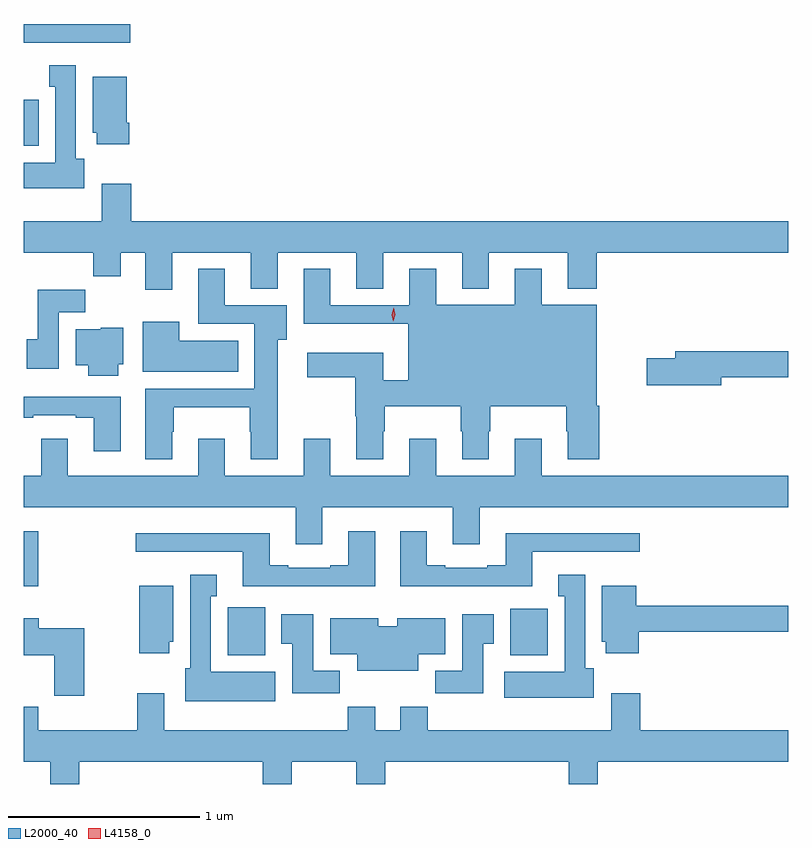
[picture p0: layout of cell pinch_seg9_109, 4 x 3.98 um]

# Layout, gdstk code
import gdstk
lib = gdstk.Library(unit=1e-6, precision=1e-09)
def R(c, l, rs):  # rectangles x0, y0, x1, y1
    for r in rs: c.add(gdstk.rectangle(r[:2], r[2:], *l))
def P(c, l, *ps):  # polygons
    for p in ps: c.add(gdstk.Polygon(p, *l))
L2000_40 = (2000, 40)
L4158_0 = (4158, 0)

pinch_seg9_109 = lib.new_cell('pinch_seg9_109')
R(pinch_seg9_109, L2000_40, [(1128.843,1184.99,1129.039,1185.24), (1130.321,1184.99,1130.518,1185.232), (1127.776,1185.35,1127.852,1185.637), (1127.776,1187.654,1127.854,1187.896), (1127.776,1188.195,1128.334,1188.292)])
P(pinch_seg9_109, L2000_40, [(1128.094,1187.586),(1128.049,1187.586),(1128.049,1188.076),(1127.909,1188.076),(1127.909,1187.963),(1127.942,1187.963),(1127.942,1187.566),(1127.776,1187.566),(1127.776,1187.432),(1128.094,1187.432)],
  [(1128.329,1187.776),(1128.316,1187.776),(1128.316,1188.016),(1128.137,1188.016),(1128.137,1187.724),(1128.158,1187.724),(1128.158,1187.664),(1128.329,1187.664)],
  [(1128.553,1187.096),(1128.965,1187.096),(1128.965,1186.907),(1129.105,1186.907),(1129.105,1187.096),(1129.517,1187.096),(1129.517,1186.906),(1129.657,1186.906),(1129.657,1187.096),(1130.069,1187.096),(1130.069,1186.907),(1130.209,1186.907),(1130.209,1187.096),(1130.621,1187.096),(1130.621,1186.907),(1130.774,1186.907),(1130.774,1187.096),(1131.776,1187.096),(1131.776,1187.26),(1128.338,1187.26),(1128.338,1187.455),(1128.185,1187.455),(1128.185,1187.26),(1127.776,1187.26),(1127.776,1187.096),(1128.139,1187.096),(1128.139,1186.972),(1128.283,1186.972),(1128.283,1187.096),(1128.413,1187.096),(1128.413,1186.902),(1128.553,1186.902)],
  [(1129.657,1186.161),(1129.665,1186.161),(1129.665,1186.292),(1130.062,1186.292),(1130.062,1186.161),(1130.069,1186.161),(1130.069,1186.014),(1130.209,1186.014),(1130.209,1186.161),(1130.217,1186.161),(1130.217,1186.292),(1130.614,1186.292),(1130.614,1186.161),(1130.621,1186.161),(1130.621,1186.014),(1130.786,1186.014),(1130.786,1186.296),(1130.773,1186.296),(1130.773,1186.822),(1130.485,1186.822),(1130.485,1187.011),(1130.345,1187.011),(1130.345,1186.822),(1129.933,1186.822),(1129.933,1187.011),(1129.793,1187.011),(1129.793,1186.821),(1129.381,1186.821),(1129.381,1187.011),(1129.241,1187.011),(1129.241,1186.724),(1129.787,1186.724),(1129.787,1186.429),(1129.657,1186.429),(1129.657,1186.573),(1129.26,1186.573),(1129.26,1186.444),(1129.51,1186.444),(1129.51,1186.241),(1129.517,1186.241),(1129.517,1186.014),(1129.657,1186.014)],
  [(1128.553,1186.158),(1128.561,1186.158),(1128.561,1186.286),(1128.958,1186.286),(1128.958,1186.158),(1128.965,1186.158),(1128.965,1186.014),(1129.105,1186.014),(1129.105,1186.64),(1129.153,1186.64),(1129.153,1186.821),(1128.829,1186.821),(1128.829,1187.011),(1128.689,1187.011),(1128.689,1186.725),(1128.983,1186.725),(1128.983,1186.383),(1128.413,1186.383),(1128.413,1186.014),(1128.553,1186.014)],
  [(1127.959,1186.784),(1128.098,1186.784),(1128.098,1186.903),(1127.849,1186.903),(1127.849,1186.644),(1127.792,1186.644),(1127.792,1186.488),(1127.959,1186.488)],
  [(1128.898,1186.636),(1128.589,1186.636),(1128.589,1186.735),(1128.398,1186.735),(1128.398,1186.472),(1128.898,1186.472)],
  [(1128.271,1186.512),(1128.298,1186.512),(1128.298,1186.702),(1128.18,1186.702),(1128.18,1186.696),(1128.047,1186.696),(1128.047,1186.508),(1128.113,1186.508),(1128.113,1186.451),(1128.271,1186.451)],
  [(1131.424,1186.444),(1131.776,1186.444),(1131.776,1186.58),(1131.185,1186.58),(1131.185,1186.544),(1131.036,1186.544),(1131.036,1186.402),(1131.424,1186.402)],
  [(1128.283,1186.342),(1127.776,1186.342),(1127.776,1186.233),(1127.827,1186.233),(1127.827,1186.245),(1128.047,1186.245),(1128.047,1186.233),(1128.143,1186.233),(1128.143,1186.056),(1128.283,1186.056)],
  [(1128.689,1186.123),(1128.689,1185.928),(1128.007,1185.928),(1128.007,1186.123),(1127.867,1186.123),(1127.867,1185.928),(1127.776,1185.928),(1127.776,1185.764),(1129.199,1185.764),(1129.199,1185.57),(1129.339,1185.57),(1129.339,1185.764),(1130.021,1185.764),(1130.021,1185.57),(1130.161,1185.57),(1130.161,1185.764),(1131.776,1185.764),(1131.776,1185.928),(1130.485,1185.928),(1130.485,1186.123),(1130.345,1186.123),(1130.345,1185.928),(1129.933,1185.928),(1129.933,1186.123),(1129.793,1186.123),(1129.793,1185.928),(1129.381,1185.928),(1129.381,1186.123),(1129.241,1186.123),(1129.241,1185.928),(1128.829,1185.928),(1128.829,1186.123)],
  [(1129.615,1185.637),(1129.475,1185.637),(1129.475,1185.46),(1129.379,1185.46),(1129.379,1185.447),(1129.159,1185.447),(1129.159,1185.46),(1129.063,1185.46),(1129.063,1185.628),(1128.363,1185.628),(1128.363,1185.531),(1128.923,1185.531),(1128.923,1185.35),(1129.615,1185.35)],
  [(1130.437,1185.531),(1130.998,1185.531),(1130.998,1185.628),(1130.297,1185.628),(1130.297,1185.46),(1130.201,1185.46),(1130.201,1185.447),(1129.981,1185.447),(1129.981,1185.46),(1129.885,1185.46),(1129.885,1185.637),(1129.745,1185.637),(1129.745,1185.35),(1130.437,1185.35)],
  [(1129.093,1184.902),(1128.754,1184.902),(1128.754,1185.299),(1128.787,1185.299),(1128.787,1185.412),(1128.647,1185.412),(1128.647,1184.922),(1128.62,1184.922),(1128.62,1184.75),(1129.093,1184.75)],
  [(1130.758,1184.922),(1130.713,1184.922),(1130.713,1185.412),(1130.573,1185.412),(1130.573,1185.299),(1130.606,1185.299),(1130.606,1184.902),(1130.289,1184.902),(1130.289,1184.768),(1130.758,1184.768)],
  [(1128.538,1185.06),(1128.559,1185.06),(1128.559,1185.352),(1128.38,1185.352),(1128.38,1185),(1128.538,1185)],
  [(1130.993,1185.112),(1131.776,1185.112),(1131.776,1185.248),(1130.98,1185.248),(1130.98,1185.352),(1130.801,1185.352),(1130.801,1185.06),(1130.822,1185.06),(1130.822,1185),(1130.993,1185)],
  [(1129.43,1184.908),(1129.291,1184.908),(1129.291,1185.205),(1129.124,1185.205),(1129.124,1185.049),(1129.181,1185.049),(1129.181,1184.79),(1129.43,1184.79)],
  [(1130.179,1185.049),(1130.236,1185.049),(1130.236,1185.205),(1130.069,1185.205),(1130.069,1184.908),(1129.93,1184.908),(1129.93,1184.79),(1130.179,1184.79)],
  [(1128.094,1185.13),(1127.854,1185.13),(1127.854,1185.184),(1127.776,1185.184),(1127.776,1184.99),(1127.936,1184.99),(1127.936,1184.778),(1128.094,1184.778)],
  [(1129.84,1184.996),(1129.981,1184.996),(1129.981,1185.184),(1129.73,1185.184),(1129.73,1185.142),(1129.63,1185.142),(1129.63,1185.184),(1129.379,1185.184),(1129.379,1184.996),(1129.52,1184.996),(1129.52,1184.909),(1129.84,1184.909)],
  [(1128.067,1184.432),(1129.027,1184.432),(1129.027,1184.316),(1129.179,1184.316),(1129.179,1184.432),(1129.516,1184.432),(1129.516,1184.316),(1129.667,1184.316),(1129.667,1184.432),(1130.627,1184.432),(1130.627,1184.316),(1130.78,1184.316),(1130.78,1184.432),(1131.776,1184.432),(1131.776,1184.596),(1131.002,1184.596),(1131.002,1184.791),(1130.849,1184.791),(1130.849,1184.596),(1129.889,1184.596),(1129.889,1184.72),(1129.745,1184.72),(1129.745,1184.596),(1129.615,1184.596),(1129.615,1184.72),(1129.471,1184.72),(1129.471,1184.596),(1128.511,1184.596),(1128.511,1184.791),(1128.371,1184.791),(1128.371,1184.596),(1127.852,1184.596),(1127.852,1184.72),(1127.776,1184.72),(1127.776,1184.432),(1127.915,1184.432),(1127.915,1184.316),(1128.067,1184.316)])
P(pinch_seg9_109, L4158_0, [(1129.71,1186.736),(1129.71,1186.736),(1129.701,1186.772),(1129.712,1186.808),(1129.712,1186.808),(1129.713,1186.808),(1129.721,1186.771),(1129.71,1186.736)])

lib.write_gds('pinch_seg9_109.gds')
